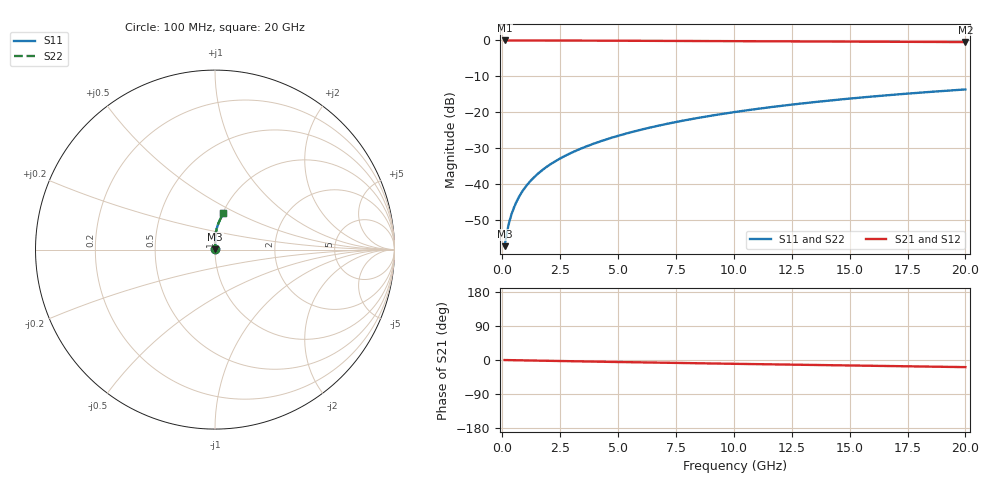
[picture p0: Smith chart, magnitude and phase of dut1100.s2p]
! Touchstone file exported from HFSS 2024.1.0
!  File:  C:/UserFiles/LocalFiles/RDL_TSV_Batchsim/temp_RDL_top_1100_1780046317.aedt
!  Generated:  05:20:55 PM May 29, 2026
!  Design:  RDL_top
!  Project:  temp_RDL_top_1100_1780046317
!  Setup:  Setup1
!  Solution:  Sweep
! Variables:
!  dtsv = 10.80580581um
!  hbump = 3um
!  htsv = 96.87um
!  ldown = 100um
!  lrdl = 219.85um
!  p = 40
!  p1 = 59.44um
!  rhole = 1um
!  t = 450um
!  tdown = 3.915915916um
!  trdl = 4.16um
!  wdown = 15.38538539um
!  wrdl = 24.93um
# GHz S MA R 50.000000
! Terminal data exported
! Port[1] = Box2_T1
! Port[2] = Box2_T2
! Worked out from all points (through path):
!   200 points, 100 MHz to 20 GHz, reference 50 ohm
!   highest |S21| = -0.01 dB at 100 MHz (marker M1); lowest = -0.5 dB at 20 GHz (marker M2)
!   group delay of S21, straight-line fit = 2.58 ps
!   lowest |S11| = -57.4 dB at 100 MHz (marker M3), VSWR 1.00, Z = 50.1 + j0.0963 ohm
!   |S11| at or under -10 dB: start of sweep to end of sweep
!   |S22| runs from -57.4 to -13.7 dB; largest |S21 - S12| = 2.7e-15
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0.1  0.001349 45.4  0.999 -0.1  0.999 -0.1  0.001349 45.4
! Gamma 0 0 0 0
! Port Impedance 50 0 50 0
0.2  0.002111 61.9  0.999 -0.2  0.999 -0.2  0.002112 61.9
0.3  0.002929 69.6  0.9989 -0.3  0.9989 -0.3  0.002929 69.6
0.4  0.003773 74.2  0.9988 -0.4  0.9988 -0.4  0.003773 74.2
0.5  0.004631 77.1  0.9988 -0.6  0.9988 -0.6  0.004631 77.1
0.6  0.0055 79.2  0.9987 -0.7  0.9987 -0.7  0.0055 79.2
0.8  0.007254 81.9  0.9986 -0.9  0.9986 -0.9  0.007254 81.9
1.1  0.00991 84.2  0.9983 -1.2  0.9983 -1.2  0.00991 84.2
1.5  0.01348 86.0  0.9979 -1.6  0.9979 -1.6  0.01348 86.0
1.8  0.01618 86.9  0.9976 -2.0  0.9976 -2.0  0.01618 86.9
2.1  0.0189 87.6  0.9971 -2.3  0.9971 -2.3  0.0189 87.6
2.7  0.02442 88.5  0.9961 -2.9  0.9961 -2.9  0.02442 88.5
3.5  0.03196 89.2  0.9944 -3.8  0.9944 -3.8  0.03196 89.2
4.2  0.03874 89.6  0.9927 -4.5  0.9927 -4.5  0.03874 89.6
5  0.0467 89.7  0.9907 -5.3  0.9907 -5.3  0.0467 89.7
5.9  0.05589 89.6  0.9882 -6.2  0.9882 -6.2  0.05589 89.5
6.8  0.0653 89.2  0.9856 -7.1  0.9856 -7.1  0.0653 89.2
8.4  0.08243 88.2  0.9811 -8.6  0.9811 -8.6  0.08242 88.2
10.1  0.101 86.8  0.9763 -10.1  0.9763 -10.1  0.1009 86.8
13.4  0.1371 83.6  0.9671 -13.1  0.9671 -13.1  0.1371 83.6
16.7  0.1727 80.2  0.958 -16.0  0.958 -16.0  0.1727 80.2
20  0.2072 76.8  0.9485 -18.8  0.9485 -18.8  0.2072 76.8
